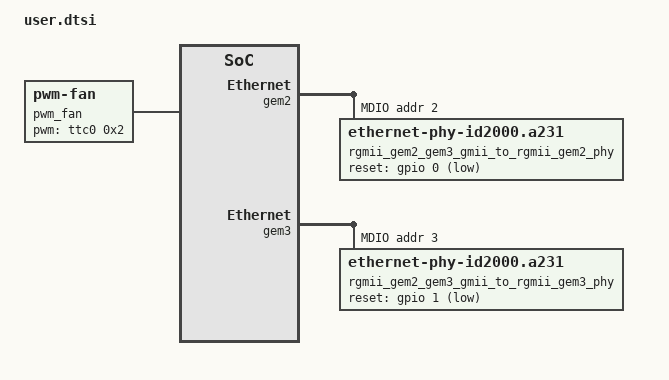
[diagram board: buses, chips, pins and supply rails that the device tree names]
#include "include/dt-bindings/gpio/gpio.h"
#include "include/dt-bindings/net/ti-dp83867.h"
#include "include/dt-bindings/phy/phy.h"
#include "include/dt-bindings/pinctrl/pinctrl-zynqmp.h"

&{/} {
	compatible = "xlnx,zynqmp-sk-kr260-revB",
		     "xlnx,zynqmp-sk-kr260", "xlnx,zynqmp";
	model = "ZynqMP KR260 revB";

	aliases {
		ethernet2 = "/axi/ethernet@ff0d0000"; /* &gem2 */
		ethernet3 = "/axi/ethernet@ff0e0000"; /* &gem3 */
	};
	
	aux_ref_clk: aux-ref-clk {
		clock-frequency = <50000000>;
	};

	pwm_fan: pwm-fan {
		compatible = "pwm-fan";
		pwms = <&ttc0 0x2 0x9c40 0x1>;
	};

	reserved-memory {
		#address-cells = <2>;
		#size-cells = <2>;
		ranges;

		pl_ddr: buffer@20000000 {
			compatible = "shared-dma-pool";
			no-map;
			reg = <0x0 0x20000000 0x0 0x10000000>;
		};

		cma_reserved: cma_reserved@800000000 {
			compatible = "shared-dma-pool";
			reusable;
			reg = <0x8 0x0 0x0 0x40000000>;
			linux,cma-default;
		};
   };
};

&gem2 {
	psu_ethernet_2_mdio: mdio {
		rgmii_gem2_gem3_gmii_to_rgmii_gem2_phy: ethernet-phy@2 {
			#phy-cells = <1>;
			compatible = "ethernet-phy-id2000.a231";
			reg = <2>;
			ti,rx-internal-delay = <DP83867_RGMIIDCTL_2_25_NS>;
			ti,tx-internal-delay = <DP83867_RGMIIDCTL_2_75_NS>;
			ti,fifo-depth = <DP83867_PHYCR_FIFO_DEPTH_4_B_NIB>;
			ti,dp83867-rxctrl-strap-quirk;
			reset-assert-us = <100>;
			reset-deassert-us = <280>;
			reset-gpios = <&gpio 0 GPIO_ACTIVE_LOW>;
		};
	};
};

&gem3 {
	psu_ethernet_3_mdio: mdio {
		rgmii_gem2_gem3_gmii_to_rgmii_gem3_phy: ethernet-phy@3 {
			#phy-cells = <1>;
			compatible = "ethernet-phy-id2000.a231";
			reg = <3>;
			ti,rx-internal-delay = <DP83867_RGMIIDCTL_2_25_NS>;
			ti,tx-internal-delay = <DP83867_RGMIIDCTL_2_75_NS>;
			ti,fifo-depth = <DP83867_PHYCR_FIFO_DEPTH_4_B_NIB>;
			ti,dp83867-rxctrl-strap-quirk;
			reset-assert-us = <100>;
			reset-deassert-us = <280>;
			reset-gpios = <&gpio 1 GPIO_ACTIVE_LOW>;
		};
	};
};

&psu_cortexa53_0 {
	xlnx,pss-aux-ref-clk-freq = <50000000>;
};

&amba_pl {
	zyxclmm_drm {
		memory-region = <&pl_ddr>;
	};
};

&ttc0 {
    #pwm-cells = <0x3>;
};
